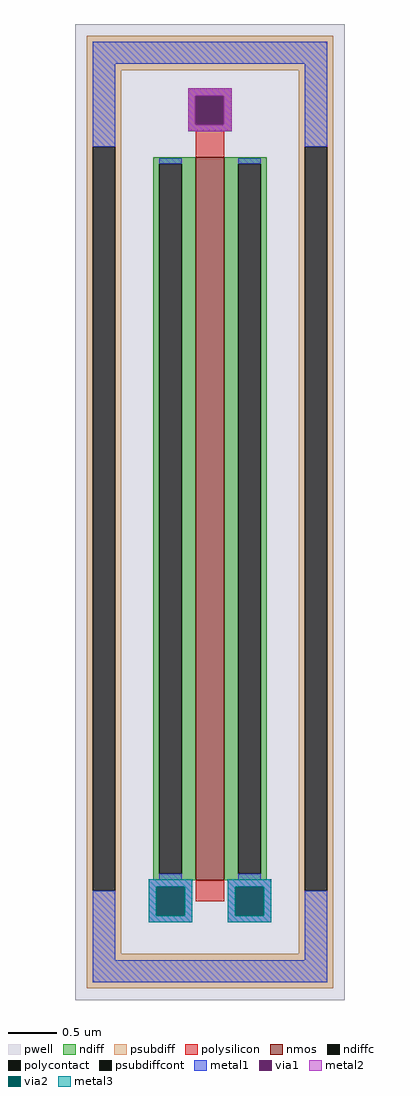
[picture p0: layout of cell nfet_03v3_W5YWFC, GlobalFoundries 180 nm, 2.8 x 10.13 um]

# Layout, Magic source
magic
tech gf180mcuD
magscale 1 10
<< pwell >>
rect -280 -999 280 1027
<< nmos >>
rect -30 -750 30 750
<< ndiff >>
rect -118 737 -30 750
rect -118 -737 -105 737
rect -59 -737 -30 737
rect -118 -750 -30 -737
rect 30 737 118 750
rect 30 -737 59 737
rect 105 -737 118 737
rect 30 -750 118 -737
<< ndiffc >>
rect -105 -737 -59 737
rect 59 -737 105 737
<< psubdiff >>
rect -256 931 256 1003
rect -256 772 -184 931
rect -256 -772 -243 772
rect -197 -772 -184 772
rect 184 772 256 931
rect -256 -903 -184 -772
rect 184 -772 197 772
rect 243 -772 256 772
rect 184 -903 256 -772
rect -256 -975 256 -903
<< psubdiffcont >>
rect -243 -772 -197 772
rect 197 -772 243 772
<< polysilicon >>
rect -45 878 45 894
rect -45 818 -31 878
rect 29 818 45 878
rect -45 804 45 818
rect -30 750 30 804
rect -30 -794 30 -750
<< polycontact >>
rect -31 818 29 878
<< metal1 >>
rect -243 944 243 990
rect -243 772 -197 944
rect -45 878 45 894
rect -45 818 -31 878
rect 29 818 45 878
rect -45 804 45 818
rect 197 772 243 944
rect -105 737 -59 748
rect -105 -748 -59 -737
rect 59 737 105 748
rect 59 -748 105 -737
rect -243 -916 -197 -772
rect -127 -764 -37 -748
rect -127 -824 -112 -764
rect -52 -824 -37 -764
rect -127 -838 -37 -824
rect 37 -764 127 -748
rect 37 -824 52 -764
rect 112 -824 127 -764
rect 37 -838 127 -824
rect 197 -916 243 -772
rect -243 -962 243 -916
<< via1 >>
rect -31 818 29 878
rect -112 -824 -52 -764
rect 52 -824 112 -764
<< metal2 >>
rect -45 878 45 894
rect -45 818 -31 878
rect 29 818 45 878
rect -45 804 45 818
rect -127 -764 -37 -748
rect -127 -824 -112 -764
rect -52 -824 -37 -764
rect -127 -838 -37 -824
rect 37 -764 127 -748
rect 37 -824 52 -764
rect 112 -824 127 -764
rect 37 -838 127 -824
<< via2 >>
rect -112 -824 -52 -764
rect 52 -824 112 -764
<< metal3 >>
rect -127 -764 -37 -748
rect -127 -824 -112 -764
rect -52 -824 -37 -764
rect -127 -838 -37 -824
rect 37 -764 127 -748
rect 37 -824 52 -764
rect 112 -824 127 -764
rect 37 -838 127 -824
<< properties >>
string FIXED_BBOX -220 -852 220 852
string gencell nfet_03v3
string library gf180mcu
string parameters w 7.5 l 0.3 m 1 nf 1 diffcov 100 polycov 100 guard 1 glc 1 grc 1 gtc 0 gbc 0 tbcov 100 rlcov 100 topc 0 botc 0 poverlap 0 doverlap 1 lmin 0.28 wmin 0.22 class mosfet full_metal 1 compatible {nfet_03v3 nfet_05v0 nfet_06v0 nfet_06v0_nvt}
<< end >>
